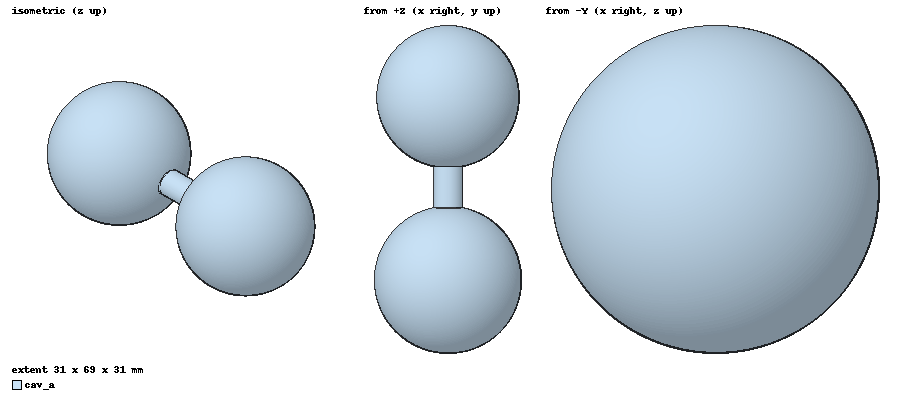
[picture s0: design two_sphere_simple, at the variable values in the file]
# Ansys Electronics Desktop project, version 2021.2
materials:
  vacuum: permittivity=1

design two_sphere_simple (HFSS, Eigenmode, model units mm)
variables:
  r_cpl = 3mm
  l_cpl = 10mm
  r_b = 15mm
  r_a = 15.5mm
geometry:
  tunnel_coupler = cylinder(axis=Y, base_centre=(0mm, -l_cpl/2, 0mm), radius=r_cpl, height=l_cpl)
  cav_b = sphere(centre=(0mm, 0.8*l_cpl/2+r_b, 0mm), radius=r_b)
  cav_a [vacuum] = sphere(centre=(0mm, -0.8*l_cpl/2-r_a, 0mm), radius=r_a)
  cav_a.unite(cav_b, tunnel_coupler)
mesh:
  Length1: LengthBased Faces=cav_a.face(1 of 1) MaxLength=6mm
  Length2: LengthBased Faces=cav_a.face(1 of 1) MaxLength=6mm
  Length3: LengthBased Faces=cav_a.face(1 of 3) MaxLength=1.7212246mm
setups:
  Setup1: HfssEigen MinimumFrequency=2.20588GHz NumModes=8 MaxDeltaFreq=0.01 ConvergeOnRealFreq=true MaximumPasses=30 MinimumPasses=1 MinimumConvergedPasses=1 PercentRefinement=30 BasisOrder=-1
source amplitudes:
  #-10:1, #-10:3..#-10:8: 0 0
  #-10:2: 1 0
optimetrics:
  d_a_sweep: Parametric Sim._Setups=[Setup1]
    sweep r_a: LIN 14.9mm 15.1mm 0.02mm
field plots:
  Vector_E1: E Field in cav_a on Setup1 : LastAdaptive at Phase=0deg
  Vector_H1: H Field in cav_a on Setup1 : LastAdaptive at Phase=90deg
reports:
  Eigen Modes Plot 1: re(Mode(1)), re(Mode(2)), re(Mode(3)), re(Mode(4)) vs r_a on Setup1 : LastAdaptive; markers m1 at 15mm, m2 at 15mm, m3 at 15mm, m4 at 15mm
